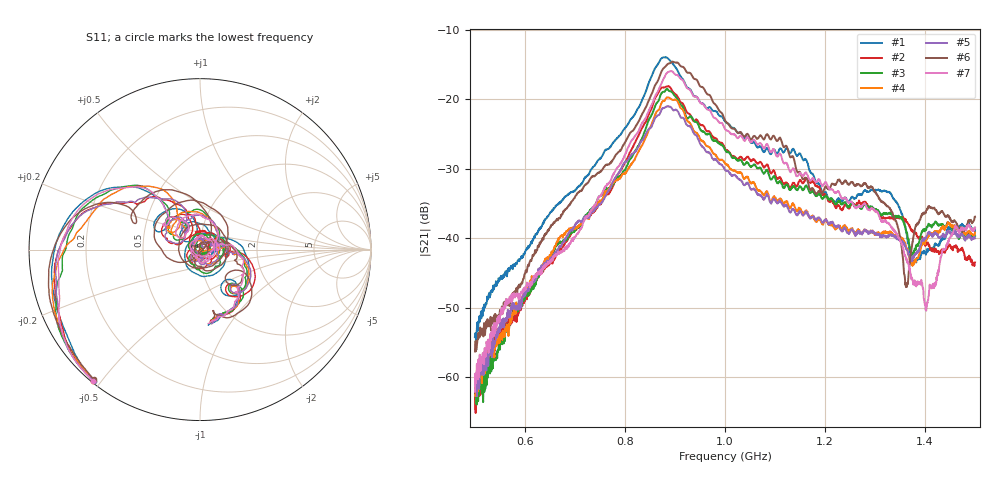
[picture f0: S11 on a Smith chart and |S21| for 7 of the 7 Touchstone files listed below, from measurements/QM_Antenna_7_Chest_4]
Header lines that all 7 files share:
!Agilent Technologies,E8364B,US42250235,A.06.04.32
!Agilent E8364B: A.06.04.32
!Correction: S11(Full 2 Port(1,2)) S21(Full 2 Port(1,2)) S12(Full 2 Port(1,2)) S22(Full 2 Port(1,2))
!S2P File: Measurements: S11, S21, S12, S22:
# Hz S  dB  R 50
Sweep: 500 MHz to 1.5 GHz
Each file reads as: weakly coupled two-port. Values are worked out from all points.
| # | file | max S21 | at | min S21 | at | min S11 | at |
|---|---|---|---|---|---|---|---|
| 1 | 0_2.s2p | -13.96 dB | 880 MHz | -55.1 dB | 501.9 MHz | -27.7 dB | 927.5 MHz |
| 2 | 0_8.s2p | -18.12 dB | 887.5 MHz | -65.2 dB | 501.2 MHz | -30.3 dB | 1.026 GHz |
| 3 | 2_4.s2p | -18.51 dB | 883.8 MHz | -64.0 dB | 503.1 MHz | -44.8 dB | 954.4 MHz |
| 4 | 2_5.s2p | -19.72 dB | 885.6 MHz | -62.7 dB | 501.2 MHz | -48.3 dB | 860.6 MHz |
| 5 | 2_6.s2p | -20.99 dB | 885 MHz | -62.7 dB | 503.8 MHz | -33.1 dB | 939.4 MHz |
| 6 | 4_2.s2p | -14.59 dB | 895 MHz | -56.3 dB | 500 MHz | -75.4 dB | 1.159 GHz |
| 7 | 4_3.s2p | -15.94 dB | 892.5 MHz | -62.1 dB | 500 MHz | -29.8 dB | 883.1 MHz |
